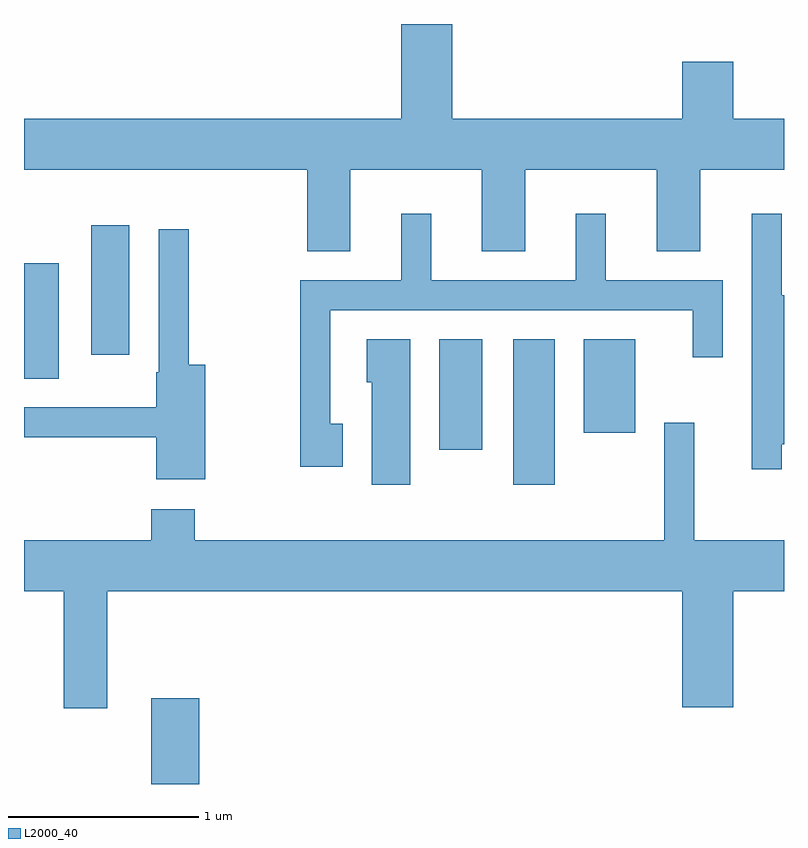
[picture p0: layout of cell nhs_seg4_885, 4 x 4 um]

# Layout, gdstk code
import gdstk
lib = gdstk.Library(unit=1e-6, precision=1e-09)
def R(c, l, rs):  # rectangles x0, y0, x1, y1
    for r in rs: c.add(gdstk.rectangle(r[:2], r[2:], *l))
def P(c, l, *ps):  # polygons
    for p in ps: c.add(gdstk.Polygon(p, *l))
L2000_40 = (2000, 40)

nhs_seg4_885 = lib.new_cell('nhs_seg4_885')
R(nhs_seg4_885, L2000_40, [(212.281,1255.982,212.534,1256.434), (214.186,1257.556,214.404,1258.324), (213.796,1257.741,214.024,1258.324), (214.556,1257.831,214.829,1258.324), (211.611,1258.116,211.794,1258.724), (211.966,1258.241,212.164,1258.924)])
P(nhs_seg4_885, L2000_40, [(213.329,1259.216),(214.021,1259.216),(214.021,1258.786),(214.249,1258.786),(214.249,1259.216),(214.941,1259.216),(214.941,1258.786),(215.169,1258.786),(215.169,1259.216),(215.611,1259.216),(215.611,1259.484),(215.344,1259.484),(215.344,1259.784),(215.076,1259.784),(215.076,1259.484),(213.864,1259.484),(213.864,1259.982),(213.596,1259.982),(213.596,1259.484),(211.611,1259.484),(211.611,1259.216),(213.101,1259.216),(213.101,1258.786),(213.329,1258.786)],
  [(213.289,1257.879),(213.224,1257.879),(213.224,1258.476),(215.131,1258.476),(215.131,1258.228),(215.289,1258.228),(215.289,1258.634),(214.674,1258.634),(214.674,1258.983),(214.516,1258.983),(214.516,1258.634),(213.754,1258.634),(213.754,1258.983),(213.596,1258.983),(213.596,1258.634),(213.066,1258.634),(213.066,1257.651),(213.289,1257.651)],
  [(215.599,1257.771),(215.611,1257.771),(215.611,1258.554),(215.599,1258.554),(215.599,1258.983),(215.441,1258.983),(215.441,1257.638),(215.599,1257.638)],
  [(212.564,1258.189),(212.479,1258.189),(212.479,1258.903),(212.321,1258.903),(212.321,1258.15),(212.306,1258.15),(212.306,1257.964),(211.611,1257.964),(211.611,1257.806),(212.306,1257.806),(212.306,1257.586),(212.564,1257.586)],
  [(213.644,1258.324),(213.416,1258.324),(213.416,1258.096),(213.441,1258.096),(213.441,1257.556),(213.644,1257.556)],
  [(212.049,1256.996),(215.076,1256.996),(215.076,1256.386),(215.344,1256.386),(215.344,1256.996),(215.611,1256.996),(215.611,1257.264),(215.139,1257.264),(215.139,1257.883),(214.981,1257.883),(214.981,1257.264),(212.509,1257.264),(212.509,1257.429),(212.281,1257.429),(212.281,1257.264),(211.611,1257.264),(211.611,1256.996),(211.821,1256.996),(211.821,1256.381),(212.049,1256.381)])

lib.write_gds('nhs_seg4_885.gds')
